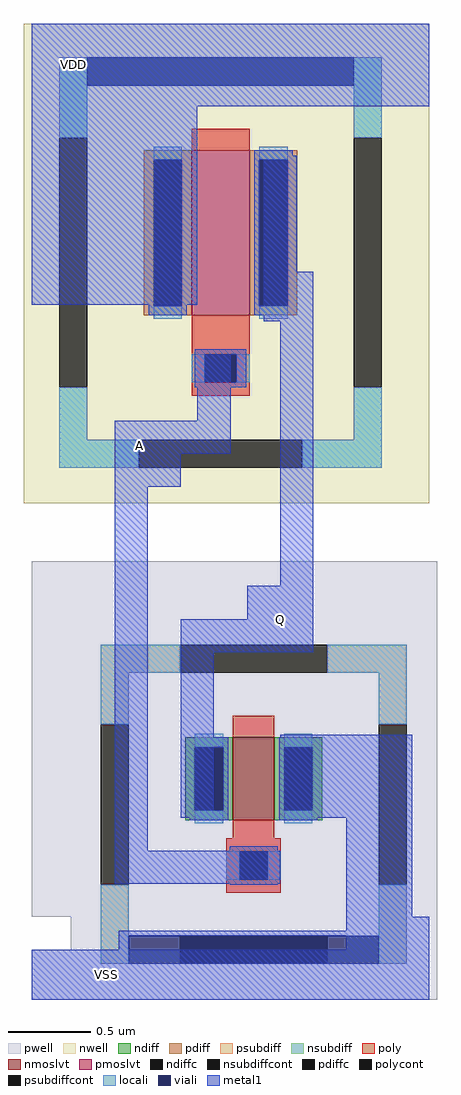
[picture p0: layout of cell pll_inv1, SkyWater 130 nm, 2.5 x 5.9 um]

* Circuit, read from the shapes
.subckt pll_inv1 A VDD VSS Q
XM1 VSS A Q VSS sky130_fd_pr__nfet_01v8_lvt w=0.5 l=0.25
XM2 Q A VDD VDD sky130_fd_pr__pfet_01v8_lvt w=1 l=0.35
.ends

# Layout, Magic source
magic
tech sky130A
magscale 1 2
<< nwell >>
rect -110 540 380 1120
<< pwell >>
rect -100 40 390 470
rect 280 0 390 40
rect -100 -60 390 0
<< metal1 >>
rect -100 1020 380 1120
rect -100 780 100 1020
rect 180 820 220 960
rect 180 760 240 820
rect 100 640 140 720
rect 0 600 140 640
rect 0 560 80 600
rect 0 120 40 560
rect 200 440 240 760
rect 160 400 240 440
rect 80 360 240 400
rect 80 160 120 360
rect 200 160 360 260
rect 0 80 200 120
rect 280 40 360 160
rect 280 0 380 40
rect -100 -60 380 0
use sky130_fd_pr__nfet_01v8_lvt_CEX9U3  sky130_fd_pr__nfet_01v8_lvt_CEX9U3_0
transform 1 0 168 0 1 176
box -221 -229 221 229
use sky130_fd_pr__pfet_01v8_lvt_6U8WF4  sky130_fd_pr__pfet_01v8_lvt_6U8WF4_0
transform 1 0 128 0 1 831
box -231 -284 231 284
<< labels >>
flabel metal1 -100 1020 0 1120 0 FreeSans 800 0 0 0 VDD
port 3 nsew
flabel metal1 -60 -60 40 0 0 FreeSans 800 0 0 0 VSS
port 4 nsew
flabel metal1 160 360 240 440 0 FreeSans 800 0 0 0 Q
port 5 nsew
flabel metal1 0 580 60 640 0 FreeSans 800 0 0 0 A
port 0 nsew
<< end >>

# cell sky130_fd_pr__nfet_01v8_lvt_CEX9U3: kit device sky130_fd_pr__nfet_01v8_lvt, w 0.5 l 0.25 m 1 nf 1 diffcov 100 polycov 100 guard 1 glc 1 grc 1 gtc 1 gbc 1 tbcov 100 rlcov 100 topc 0 botc 1 poverlap 0 doverlap 1 lmin 0.15 wmin 0.42 compatible {sky130_fd_pr__nfet_01v8 sky130_fd_pr__nfet_01v8_lvt sky130_fd_bs_flash__special_sonosfet_star sky130_fd_pr__nfet_g5v0d10v5 sky130_fd_pr__nfet_05v0_nvt sky130_fd_pr__nfet_03v3_nvt} full_metal 1 viasrc 100 viadrn 100 viagate 100 viagb 100 viagr 0 viagl 0 viagt 0

# cell sky130_fd_pr__pfet_01v8_lvt_6U8WF4: kit device sky130_fd_pr__pfet_01v8_lvt, w 1 l 0.35 m 1 nf 1 diffcov 100 polycov 100 guard 1 glc 1 grc 1 gtc 0 gbc 1 tbcov 100 rlcov 100 topc 0 botc 1 poverlap 0 doverlap 1 lmin 0.35 wmin 0.42 compatible {sky130_fd_pr__pfet_01v8 sky130_fd_pr__pfet_01v8_lvt sky130_fd_pr__pfet_01v8_hvt sky130_fd_pr__pfet_g5v0d10v5} full_metal 1 viasrc 100 viadrn 100 viagate 100 viagb 0 viagr 0 viagl 0 viagt 100
